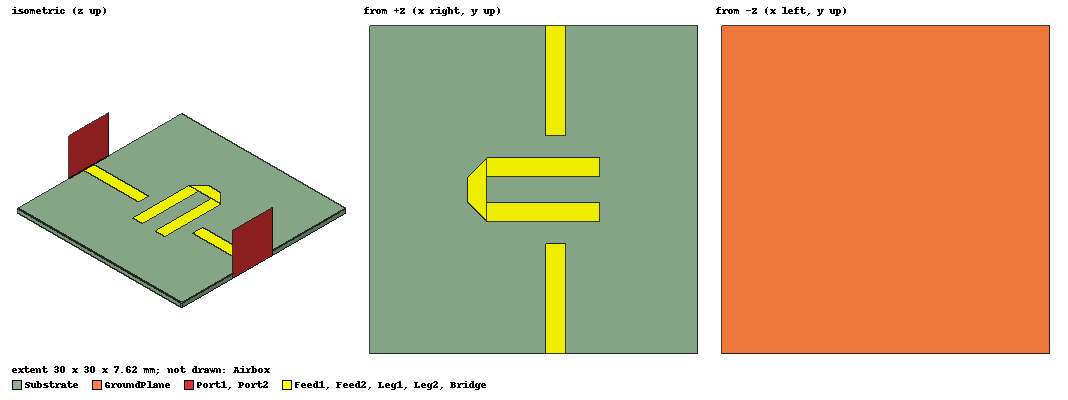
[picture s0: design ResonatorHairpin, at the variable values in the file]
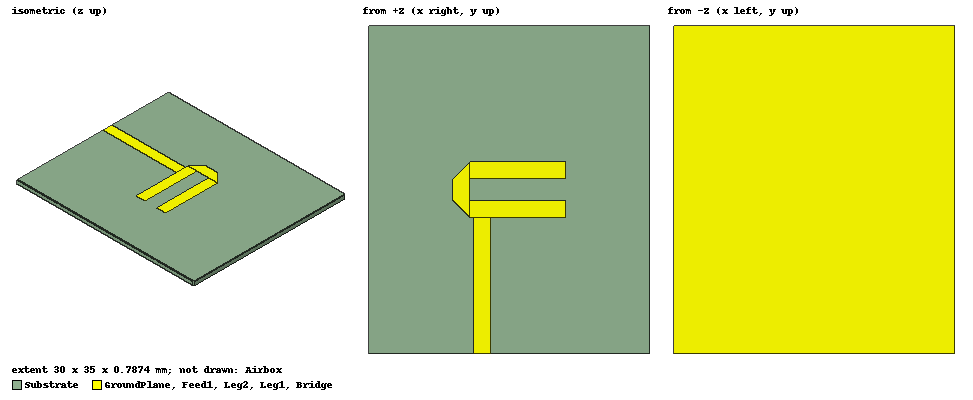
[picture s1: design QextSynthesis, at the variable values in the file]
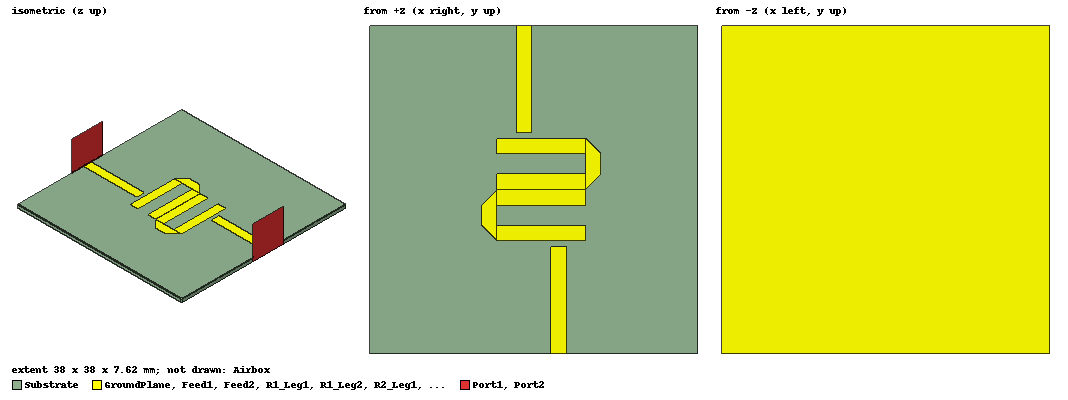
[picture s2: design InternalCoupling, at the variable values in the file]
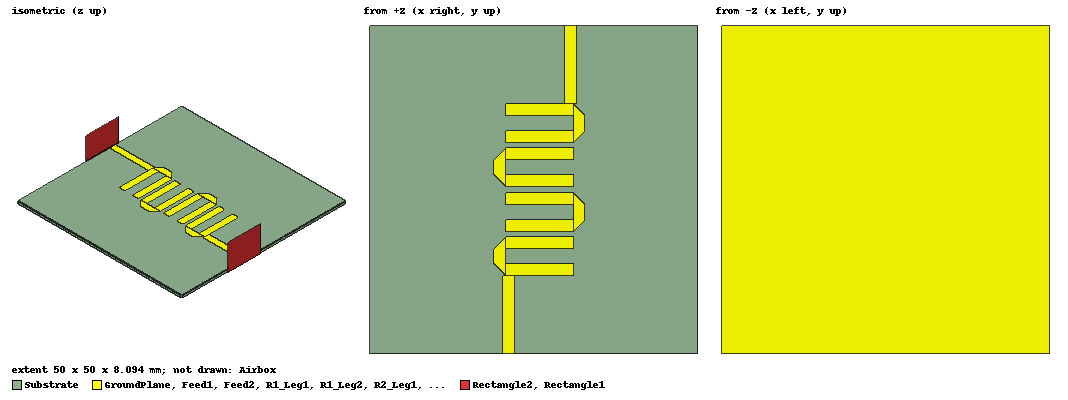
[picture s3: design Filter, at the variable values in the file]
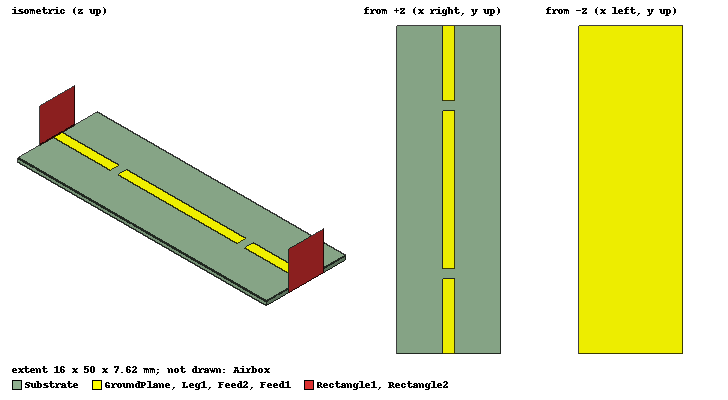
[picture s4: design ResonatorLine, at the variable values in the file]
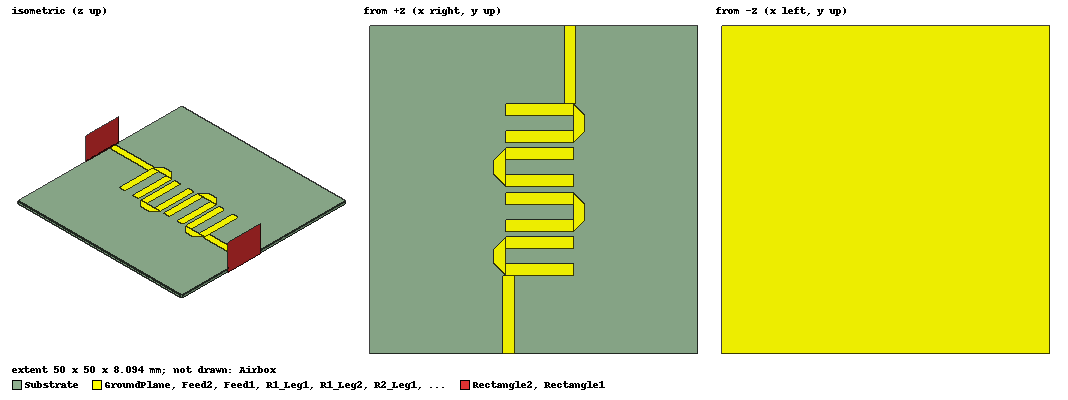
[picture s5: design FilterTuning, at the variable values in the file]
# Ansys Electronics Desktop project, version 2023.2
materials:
  vacuum: permittivity=1
  Rogers RO4003 (tm): permittivity=3.55 dielectric_loss_tangent=0.0027
  copper: permeability=0.999991 conductivity=58000000
  pec: conductivity=1e+30
  LossLess-Rogers RO4003 (tm): permittivity=3.55

design ResonatorHairpin (HFSS, HFSS Modal Network, model units mm)
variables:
  AirboxWidth = 30mm
  MicrostripWidth = 1.78mm
  Thickness = 31mil
  Len = 23.52mm
  LegR1 = 0.4378
  BridgeR2 = 0.25
  R1x = AirboxHeight/2- (MicrostripWidth + LegR1*Len)/2
  R1y = AirboxWidth/2 - BridgeR2*Len/2
  AirboxHeight = 30mm
  W50 = 1.85mm
  FX = (AirboxHeight/2 - MicrostripWidth/2) mm
  F1x = AirboxHeight/2 - MicrostripWidth/2+FOffset
  WeakGap = 2mm
  FOffset = 2mm
  LegOffset = -0.02
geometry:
  Substrate [LossLess-Rogers RO4003 (tm)] = box(corner=(0mm, 0mm, 0), size=(AirboxHeight, AirboxWidth, Thickness))
  Airbox [vacuum] = box(corner=(0mm, 0mm, 0mm), size=(AirboxHeight, AirboxWidth, 300mil))
  Leg1 = rectangle(corner=(MicrostripWidth+R1x, R1y, Thickness), x_size=Len*LegR1, y_size=MicrostripWidth)
  Leg2 = rectangle(corner=(MicrostripWidth+R1x, R1y+BridgeR2*Len-MicrostripWidth, Thickness), x_size=Len*LegR1, y_size=MicrostripWidth)
  Bridge = rectangle(corner=(R1x, R1y, Thickness), x_size=MicrostripWidth, y_size=Len*BridgeR2)
  Feed1 = rectangle(corner=(F1X, 0, Thickness), x_size=W50, y_size=R1y-WeakGap)
  Feed2 = rectangle(corner=(AirboxHeight/2 - MicrostripWidth/2 + FOffset, AirboxWidth-R1y+WeakGap, Thickness), x_size=W50, y_size=R1y-WeakGap)
  GroundPlane = rectangle(corner=(0, 0, 0), x_size=AirboxHeight, y_size=AirboxWidth)
  Polyline1 = polyline(z=Thickness, xy: (R1x, R1y) (R1x, R1y+MicrostripWidth) (R1x+MicrostripWidth, R1y) (R1x, R1y), closed, covered)
  Bridge.subtract(Polyline1)
  Polyline2 = polyline(z=Thickness, xy: (R1x, R1y + BridgeR2*Len - MicrostripWidth) (R1x, R1y + BridgeR2*Len) (R1x+MicrostripWidth, R1y+BridgeR2*Len) (R1x, R1y + BridgeR2*Len - MicrostripWidth), closed, covered)
  Bridge.subtract(Polyline2)
  Port1 = rectangle(corner=(F1x - (W50*3/2), 0mm, 0), z_size=300mil, x_size=W50*4)
  Port2 = rectangle(corner=(F1x - (W50*3/2), AirboxWidth, 0), z_size=300mil, x_size=W50*4)
  Leg3 [non-model] = rectangle(corner=(MicrostripWidth+R1x, R1y, 0), x_size=Len*LegR1, y_size=MicrostripWidth)
  Leg4 [non-model] = rectangle(corner=(MicrostripWidth+R1x, R1y+BridgeR2*Len-MicrostripWidth, 0), x_size=Len*LegR1, y_size=MicrostripWidth)
  LP1 = polyline(x=21.038528mm, yz in mm: (12.06, 0.7874) (13.84, 0.7874) (13.84, 0) (12.06, 0), closed, covered)
  LP2 = polyline(x=21.038528mm, yz in mm: (16.16, 0.7874) (17.94, 0.7874) (17.94, 0) (16.16, 0), closed, covered)
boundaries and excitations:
  Rad1: Radiation Faces=Airbox.face(+z)
  PerfE1: Perfect E Objects=[Bridge, Feed1, Feed2, GroundPlane, Leg1, Leg2]
  1: Wave Port Objects=Port1 WavePortType=Modal NumModes=1 Modes{Mode1{CharImp=Zpi}}
  2: Wave Port Objects=Port2 WavePortType=Modal NumModes=1 Modes{Mode1{CharImp=Zpi}}
  3: Lumped Port Faces=LP1.face LumpedPortType=Default Modes{Mode1{IntLine{(21.038528, 12.95, 0) -> (21.038528, 12.95, 0.7874)} CharImp=Zpi RenormImp=50ohm}} Impedance=50ohm
  4: Lumped Port Faces=LP2.face LumpedPortType=Default Modes{Mode1{IntLine{(21.038528, 17.05, 0) -> (21.038528, 17.05, 0.7874)} CharImp=Zpi RenormImp=50ohm}} Impedance=50ohm
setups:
  Setup1: HfssDriven Frequency=3.6GHz MaxDeltaS=0.005 MaximumPasses=18 MinimumPasses=15 MinimumConvergedPasses=1 PercentRefinement=30 BasisOrder=1 PortAccuracy=2 DrivenSolverType="Direct Solver"
    sweep Sweep: 1.5GHz to 5GHz, 1200 points; Type=Interpolating InterpTolerance=0.5 InterpMaxSolns=250 InterpUsePortImped=false PassivityErrorTolerance=0.0001
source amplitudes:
  1:1: 1W 0deg
  2:1, 3:1, 4:1: 0W 0deg
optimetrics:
  ParametricSetup1: Parametric Sim._Setups=[Setup1]
    sweep BridgeR2: LINC 0.21 0.26 8
    sweep LegOffset: LIN -0.08 -0.01 0.01
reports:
  S Parameter Plot 1: dB(S(2,1)) vs Freq on Setup1 : Sweep [BridgeR2=all LegOffset=all]; markers m1 at 3.5929942GHz

design QextSynthesis (HFSS, HFSS Modal Network, model units mm)
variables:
  AirboxWidth = 35mm
  MicrostripWidth = 1.78mm
  Thickness = 31mil
  Len = 23.52mm
  LegR1 = 0.4378
  BridgeR2 = 0.25
  R1x = AirboxHeight/2- (MicrostripWidth + LegR1*Len)/2
  R1y = AirboxWidth/2 - BridgeR2*Len/2
  AirboxHeight = 30mm
  FeedPos = R1x+MicrostripWidth+QextOffset
  QextOffset = 0.5mm
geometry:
  Substrate [LossLess-Rogers RO4003 (tm)] = box(corner=(0mm, 0mm, 0), size=(AirboxHeight, AirboxWidth, Thickness))
  Airbox [vacuum] = box(corner=(0mm, 0mm, -10mil), size=(AirboxHeight, AirboxWidth, 310mil))
  Leg1 = rectangle(corner=(MicrostripWidth+R1x, R1y, Thickness), x_size=Len*LegR1, y_size=MicrostripWidth)
  Leg2 = rectangle(corner=(MicrostripWidth+R1x, R1y+BridgeR2*Len-MicrostripWidth, Thickness), x_size=Len*LegR1, y_size=MicrostripWidth)
  Bridge = rectangle(corner=(R1x, R1y, Thickness), x_size=MicrostripWidth, y_size=Len*BridgeR2)
  Feed1 = rectangle(corner=(FeedPos, 0, Thickness), x_size=MicrostripWidth, y_size=R1y)
  GroundPlane = rectangle(corner=(0, 0, 0), x_size=AirboxHeight, y_size=AirboxWidth)
  Polyline1 = polyline(z=Thickness, xy: (R1x, R1y) (R1x, R1y+MicrostripWidth) (R1x+MicrostripWidth, R1y) (R1x, R1y), closed, covered)
  Polyline2 = polyline(z=Thickness, xy: (R1x, R1y + BridgeR2*Len - MicrostripWidth) (R1x, R1y + BridgeR2*Len) (R1x+MicrostripWidth, R1y+BridgeR2*Len) (R1x, R1y + BridgeR2*Len - MicrostripWidth), closed, covered)
  Bridge.subtract(Polyline1, Polyline2)
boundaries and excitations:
  PerfE1: Perfect E Objects=[Bridge, Feed1, GroundPlane, Leg1, Leg2]
  Rad1: Radiation Faces=Airbox.face(+z)
  1: Wave Port Faces=Airbox.face(-y) WavePortType=Modal NumModes=1 Modes{Mode1{CharImp=Zpi}}
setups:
  Setup1: HfssDriven Frequency=3.6GHz MaxDeltaS=0.005 MaximumPasses=18 MinimumPasses=12 MinimumConvergedPasses=1 PercentRefinement=30 BasisOrder=1 PortAccuracy=2 DrivenSolverType="Direct Solver"
    sweep Sweep: 3GHz to 8GHz, 8000 points; Type=Interpolating SaveFields InterpTolerance=0.5 InterpMaxSolns=250 InterpUsePortImped=false PassivityErrorTolerance=0.0001
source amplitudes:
  1:1: 1W 0deg
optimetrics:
  ParametricSetup1: Parametric Sim._Setups=[Setup1]
    sweep QextOffset: LIN -0.8mm 0mm 0.2mm
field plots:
  ComplexMag_E1: E Field in Airbox on Setup1 : LastAdaptive at Freq=3.6GHz Phase=0deg
  Mag_E1: E Field in Airbox on Setup1 : Sweep at Freq=3.3GHz Phase=0deg
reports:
  S Parameter Plot 1: dB(S(1,1)), ang_deg(S(1,1)) vs Freq on Setup1 : Sweep; markers MX1 at x=6.8991826e+09, MY1 at y=0.133343, MY3 at y=-3.00825

design InternalCoupling (HFSS, HFSS Modal Network, model units mm)
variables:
  a = 0.25
  Beta1 = 0.4378
  Beta2 = Beta1
  W = 1.78mm
  Len = 23.52mm
  Resonator1W = a*Len
  Resonator1H = W + max(Beta1*Len,Beta2*Len)
  Spacing1 = 0.1mm
  ResonatorsW = 2*Resonator1W + Spacing1
  F1Y = 0mm
  WeakGap = 0.68mm
  AirboxWidth = 38mm
  AirboxHeight = 38mm
  Thickness = 31mil
  Resonator1X = (AirboxHeight/2) - (Resonator1H/2)
  Resonator1Y = AirboxWidth/2 - (Resonator1W*2/2) - (Spacing1/2)
  Resonator2X = Resonator1X+W
  Resonator2Y = Resonator1Y + (a*Len) + Spacing1
  F1X = Resonator1X+(Beta1*Len+W)/2 + FeedOffset
  F2X = Resonator2X+(Beta2*Len-W)/2 - FeedOffset
  F2Y = FeedLen + ResonatorsW + 2*WeakGap
  FeedLen = Resonator1Y-WeakGap
  FeedOffset = 2mm
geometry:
  Substrate [Rogers RO4003 (tm)] = box(corner=(0mm, 0mm, 0), size=(AirboxHeight, AirboxWidth, Thickness))
  Airbox [vacuum] = box(corner=(0mm, 0mm, 0), size=(AirboxHeight, AirboxWidth, 300mil))
  GroundPlane = rectangle(corner=(0, 0, 0), x_size=AirboxHeight, y_size=AirboxWidth)
  R1_Bridge = rectangle(corner=(Resonator1X, Resonator1Y, Thickness), x_size=W, y_size=a*Len)
  R1_Leg1 = rectangle(corner=(Resonator1X+W, Resonator1Y, Thickness), x_size=Beta1*Len, y_size=W)
  R1_Leg2 = rectangle(corner=(Resonator1X+W, Resonator1Y+(a*Len)-W, Thickness), x_size=Beta2*Len, y_size=W)
  R2_Bridge1 = rectangle(corner=(Resonator2X+max(Beta1,Beta2)*Len, Resonator2Y, Thickness), x_size=W, y_size=a*Len)
  R2_Leg1 = rectangle(corner=(Resonator2X, Resonator2Y, Thickness), x_size=Beta1*Len, y_size=W)
  R2_Leg2 = rectangle(corner=(Resonator2X, Resonator2Y+(a*Len)-W, Thickness), x_size=Beta2*Len, y_size=W)
  Feed1 = rectangle(corner=(F1X, F1Y, Thickness), x_size=W, y_size=FeedLen)
  Feed2 = rectangle(corner=(F2X, F2Y, Thickness), x_size=W, y_size=FeedLen)
  Polyline1 = polyline(z=Thickness, xy: (Resonator1X, Resonator1Y) (Resonator1X, Resonator1Y+W) (Resonator1X+W, Resonator1Y) (Resonator1X, Resonator1Y), closed, covered)
  R1_Bridge.subtract(Polyline1)
  Polyline2 = polyline(z=Thickness, xy: (Resonator1X, Resonator1Y + a*Len - W) (Resonator1X, Resonator1Y+ a*Len) (Resonator1X+W, Resonator1Y + a*Len) (Resonator1X, Resonator1Y + a*Len - W), closed, covered)
  R1_Bridge.subtract(Polyline2)
  Polyline3 = polyline(z=Thickness, xy: (Resonator2X+Beta1*Len, Resonator2Y) (Resonator2X+Beta1*Len+W, Resonator2Y) (Resonator2X+Beta1*Len+W, Resonator2Y+W) (Resonator2X+Beta1*Len, Resonator2Y), closed, covered)
  Polyline4 = polyline(z=Thickness, xy: (Resonator2X+Beta2*Len, Resonator2Y+a*Len) (Resonator2X+Beta2*Len+W, Resonator2Y+a*Len) (Resonator2X+Beta2*Len+W, Resonator2Y+a*Len-W) (Resonator2X+Beta2*Len, Resonator2Y+a*Len), closed, covered)
  R2_Bridge1.subtract(Polyline3, Polyline4)
  Port1 = rectangle(corner=(F1X - (W*3/2), 0mm, 0mm), z_size=300mil, x_size=W*4)
  Port2 = rectangle(corner=(F2X - (W*3/2), AirboxWidth, 0mm), z_size=300mil, x_size=W*4)
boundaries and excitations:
  Rad1: Radiation Faces=Airbox.face(+z)
  PerfE1: Perfect E Objects=[Feed1, Feed2, GroundPlane, R1_Bridge, R1_Leg1, R1_Leg2, R2_Bridge1, R2_Leg2, R2_Leg1]
  1: Wave Port Objects=Port1 WavePortType=Modal NumModes=1 Modes{Mode1{CharImp=Zpi}}
  2: Wave Port Objects=Port2 WavePortType=Modal NumModes=1 Modes{Mode1{CharImp=Zpi}}
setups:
  Setup1: HfssDriven Frequency=3.6GHz MaxDeltaS=0.004 MaximumPasses=18 MinimumPasses=13 MinimumConvergedPasses=1 PercentRefinement=30 BasisOrder=1 PortAccuracy=2 DrivenSolverType="Direct Solver"
    sweep Sweep: 1.8GHz to 5.4GHz, 2500 points; Type=Interpolating InterpTolerance=0.5 InterpMaxSolns=250 InterpUsePortImped=false PassivityErrorTolerance=0.0001
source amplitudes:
  1:1: 1W 0deg
  2:1: 0W 0deg
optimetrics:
  ParametricSetup1: Parametric Sim._Setups=[Setup1]
    sweep Spacing1: LINC 0.4mm 1.25mm 12
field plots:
  ComplexMag_E1: E Field in Airbox on Setup1 : LastAdaptive at Freq=3.6GHz Phase=0deg
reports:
  S Parameter Plot 1: dB(S(2,1)) vs Freq on Setup1 : Sweep; markers m1 at 3.4595438GHz, m2 at 3.737575GHz, m3 at 3.472509GHz, m4 at 3.7260504GHz, m5 at 3.4869148GHz, m6 at 3.7130852GHz, m7 at 3.5027611GHz, m8 at 3.7058824GHz, m9 at 3.520048GHz, m10 at 3.70012GHz, m11 at 3.5344538GHz, m12 at 3.6957983GHz, m13 at 3.5430972GHz, m14 at 3.6885954GHz, m15 at 3.5603842GHz, m16 at 3.679952GHz

design Filter (HFSS, HFSS Modal Network, model units mm)
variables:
  a = 0.25
  Beta1 = 0.4378
  Beta2 = Beta1
  W = 1.78mm
  Len = 23.52mm
  Resonator1W = a*Len
  R1Beta1 = 0.4378
  Resonator1H = W + max(Beta1,Beta2)*Len
  W50 = 1.78mm
  Spacing1 = 0.79453mm
  ResonatorsW = Resonator1W + Resonator2W + Resonator3W + Resonator4W + Spacing1 + Spacing2 + Spacing3
  FeedOffset = -0.45mm
  Resonator2W = a*Len
  Resonator3W = a*Len
  Resonator4W = a*Len
  F1Y = 0mm
  Spacing2 = 0.97525mm
  Spacing3 = Spacing1
  WeakGap = 0mm
  AirboxWidth = 50mm
  AirboxHeight = 50mm
  Thickness = 31mil
  Resonator1X = (AirboxHeight/2) - (Resonator1H/2)
  Resonator1Y = AirboxWidth/2 - ResonatorsW/2
  Resonator2X = Resonator1X+W
  Resonator2Y = Resonator1Y + Resonator1W + Spacing1
  F1X = Resonator1X+W+FeedOffset
  F2X = Resonator2X-W+max(Beta1,Beta2)*Len - FeedOffset
  F2Y = FeedLen + ResonatorsW + 2*WeakGap
  FeedLen = Resonator1Y-WeakGap
  Resonator3X = Resonator1X
  Resonator4X = Resonator1X+W
  Resonator3Y = Resonator2Y + Resonator2W + Spacing2
  Resonator4Y = Resonator3Y + Resonator3W + Spacing3
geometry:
  Substrate [LossLess-Rogers RO4003 (tm)] = box(corner=(0mm, 0mm, 0), size=(AirboxHeight, AirboxWidth, Thickness))
  Airbox [vacuum] = box(corner=(0mm, 0mm, 0), size=(AirboxHeight, AirboxWidth, 300mil))
  GroundPlane = rectangle(corner=(0, 0, 0), x_size=AirboxHeight, y_size=AirboxWidth)
  R1_Bridge = rectangle(corner=(Resonator1X, Resonator1Y, Thickness), x_size=W, y_size=a*Len)
  R1_Leg1 = rectangle(corner=(Resonator1X+W, Resonator1Y, Thickness), x_size=R1Beta1*Len, y_size=W)
  R1_Leg2 = rectangle(corner=(Resonator1X+W, Resonator1Y+(a*Len)-W, Thickness), x_size=Beta2*Len, y_size=W)
  R2_Bridge = rectangle(corner=(Resonator2X+max(Beta1,Beta2)*Len, Resonator2Y, Thickness), x_size=W, y_size=a*Len)
  R2_Leg1 = rectangle(corner=(Resonator2X, Resonator2Y, Thickness), x_size=Beta1*Len, y_size=W)
  R2_Leg2 = rectangle(corner=(Resonator2X, Resonator2Y+(a*Len)-W, Thickness), x_size=Beta2*Len, y_size=W)
  Feed1 = rectangle(corner=(F1X, F1Y, Thickness), x_size=W50, y_size=FeedLen)
  Feed2 = rectangle(corner=(F2X, F2Y, Thickness), x_size=W50, y_size=FeedLen)
  R3_Bridge = rectangle(corner=(Resonator3X, Resonator3Y, Thickness), x_size=W, y_size=a*Len)
  R3_Leg1 = rectangle(corner=(Resonator3X+W, Resonator3Y, Thickness), x_size=Beta1*Len, y_size=W)
  R3_Leg2 = rectangle(corner=(Resonator3X+W, Resonator3Y+(a*Len)-W, Thickness), x_size=Beta1*Len, y_size=W)
  R4_Bridge = rectangle(corner=(Resonator4X+max(Beta1,Beta2)*Len, Resonator4Y, Thickness), x_size=W, y_size=a*Len)
  R4_Leg1 = rectangle(corner=(Resonator4X, Resonator4Y, Thickness), x_size=Beta1*Len, y_size=W)
  R4_Leg2 = rectangle(corner=(Resonator4X-(R1Beta1-Beta1)*Len, Resonator4Y+(a*Len)-W, Thickness), x_size=R1Beta1*Len, y_size=W)
  Polyline1 = polyline(z=Thickness, xy: (Resonator1X, Resonator1Y) (Resonator1X, Resonator1Y + W) (Resonator1X+W, Resonator1Y) (Resonator1X, Resonator1Y), closed, covered)
  R1_Bridge.subtract(Polyline1)
  Polyline2 = polyline(z=Thickness, xy: (Resonator3X, Resonator3Y) (Resonator3X, Resonator3Y+W) (Resonator3X+W, Resonator3Y) (Resonator3X, Resonator3Y), closed, covered)
  R3_Bridge.subtract(Polyline2)
  Polyline3 = polyline(z=Thickness, xy: (Resonator1X, Resonator1Y + a*Len - W) (Resonator1X, Resonator1Y + a*Len) (Resonator1X+W, Resonator1Y + a*Len) (Resonator1X, Resonator1Y + a*Len - W), closed, covered)
  R1_Bridge.subtract(Polyline3)
  Polyline4 = polyline(z=Thickness, xy: (Resonator3X, Resonator3Y + a*Len - W) (Resonator3X, Resonator3Y + a*Len) (Resonator3X+W, Resonator3Y+a*Len) (Resonator3X, Resonator3Y + a*Len - W), closed, covered)
  R3_Bridge.subtract(Polyline4)
  Polyline5 = polyline(z=Thickness, xy: (Resonator2X+Beta1*Len, Resonator2Y) (Resonator2X+Beta1*Len+W, Resonator2Y) (Resonator2X+Beta1*Len+W, Resonator2Y+W) (Resonator2X+Beta1*Len, Resonator2Y), closed, covered)
  R2_Bridge.subtract(Polyline5)
  Polyline6 = polyline(z=Thickness, xy: (Resonator4X+Beta1*Len, Resonator4Y) (Resonator4X+Beta1*Len+W, Resonator4Y) (Resonator4X+Beta1*Len+W, Resonator4Y+W) (Resonator4X+Beta1*Len, Resonator4Y), closed, covered)
  R4_Bridge.subtract(Polyline6)
  Polyline7 = polyline(z=Thickness, xy: (Resonator2X+Beta2*Len, Resonator2Y+a*Len) (Resonator2X+Beta2*Len+W, Resonator2Y+a*Len) (Resonator2X+Beta2*Len+W, Resonator2Y+a*Len-W) (Resonator2X+Beta2*Len, Resonator2Y+a*Len), closed, covered)
  R2_Bridge.subtract(Polyline7)
  Polyline8 = polyline(z=Thickness, xy: (Resonator4X+Beta2*Len, Resonator4Y+a*Len) (Resonator4X+Beta2*Len+W, Resonator4Y+a*Len) (Resonator4X+Beta2*Len+W, Resonator4Y+a*Len-W) (Resonator4X+Beta2*Len, Resonator4Y+a*Len), closed, covered)
  R4_Bridge.subtract(Polyline8)
  Rectangle1 = rectangle(corner=(19.33432mm, 0mm, -0.33080207mm), z_size=7.9448824mm, x_size=9.8647114mm)
  Rectangle2 = rectangle(corner=(36mm, AirboxWidth, -0.18071828mm), z_size=7.9434507mm, x_size=-10.121375mm)
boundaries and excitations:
  FiniteCond6: Finite Conductivity Objects=GroundPlane UseMaterial Material=copper IsInternal
  FiniteCond7: Finite Conductivity Objects=[Feed1, Feed2, R1_Bridge, R1_Leg1, R1_Leg2, R2_Bridge, R2_Leg1, R2_Leg2] Conductivity=58000000 Permeability=1 IsInternal
  FiniteCond8: Finite Conductivity Objects=[R3_Bridge, R3_Leg1, R3_Leg2, R4_Bridge, R4_Leg1, R4_Leg2] Conductivity=58000000 Permeability=1 IsInternal
  Rad1: Radiation Faces=Airbox.face(+z)
  1: Wave Port Objects=Rectangle1 WavePortType=Modal NumModes=1 Modes{Mode1{CharImp=Zpi}}
  2: Wave Port Objects=Rectangle2 WavePortType=Modal NumModes=1 Modes{Mode1{CharImp=Zpi}}
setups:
  Setup1: HfssDriven Frequency=3.6GHz MaxDeltaS=0.005 MaximumPasses=15 MinimumPasses=1 MinimumConvergedPasses=1 PercentRefinement=30 BasisOrder=1 PortAccuracy=2 DrivenSolverType="Direct Solver"
    sweep Sweep: 1.8GHz to 5.8GHz, 4000 points; Type=Interpolating InterpTolerance=0.5 InterpMaxSolns=250 InterpUsePortImped=false PassivityErrorTolerance=0.0001
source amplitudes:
  1:1: 1W 0deg
  2:1: 0W 0deg
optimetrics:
  ParametricSetup1: Parametric Sim._Setups=[Setup1]
    sweep R1Beta1: LINC 0.2189 0.6567 20
    sweep Spacing1: LIN 0.73mm 0.82mm 3mm
    sweep Spacing2: LIN 0.8mm 1.1mm 5mm
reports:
  S Parameter Plot 1: dB(S(1,1)) vs Freq on Setup1 : Sweep [R1Beta1=all Spacing1=all Spacing2=all]
  S Parameter Plot 2: dB(S(2,1)) vs Freq on Setup1 : Sweep [R1Beta1=all Spacing1=all Spacing2=all]

design ResonatorLine (HFSS, HFSS Modal Network, model units mm)
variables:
  AirboxWidth = 50mm
  MicrostripWidth = 1.78mm
  Thickness = 31mil
  Len = 24mm
  LegR1 = 0.43533
  BridgeR2 = 23.52
  R1x = AirboxHeight/2 - MicrostripWidth/2
  R1y = AirboxWidth/2 - Len/2
  AirboxHeight = 16mm
  W50 = 1.78mm
  FX = (AirboxHeight/2 - MicrostripWidth/2) mm
  F1x = AirboxHeight/2 - MicrostripWidth/2+FOffset
  WeakGap = 1.5mm
  FOffset = 0mm
  LegOffset = -0.02
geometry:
  Substrate [LossLess-Rogers RO4003 (tm)] = box(corner=(0mm, 0mm, 0), size=(AirboxHeight, AirboxWidth, Thickness))
  Airbox [vacuum] = box(corner=(0mm, 0mm, 0mm), size=(AirboxHeight, AirboxWidth, 300mil))
  Leg1 = rectangle(corner=(R1x, R1y, Thickness), x_size=MicrostripWidth, y_size=Len)
  Feed1 = rectangle(corner=(F1X, 0, Thickness), x_size=W50, y_size=R1y-WeakGap)
  Feed2 = rectangle(corner=(AirboxHeight/2 - MicrostripWidth/2 + FOffset, AirboxWidth-R1y+WeakGap, Thickness), x_size=W50, y_size=R1y-WeakGap)
  GroundPlane = rectangle(corner=(0, 0, 0), x_size=AirboxHeight, y_size=AirboxWidth)
  Rectangle1 = rectangle(corner=(F1x - (W50*3/2), 0mm, 0), z_size=300mil, x_size=W50*4)
  Rectangle2 = rectangle(corner=(F1x - (W50*3/2), AirboxWidth, 0), z_size=300mil, x_size=W50*4)
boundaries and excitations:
  Rad1: Radiation Faces=Airbox.face(+z)
  PerfE1: Perfect E Objects=[Feed1, Feed2, GroundPlane, Leg1]
  1: Wave Port Objects=Rectangle1 WavePortType=Modal NumModes=1 Modes{Mode1{CharImp=Zpi}}
  2: Wave Port Objects=Rectangle2 WavePortType=Modal NumModes=1 Modes{Mode1{CharImp=Zpi}}
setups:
  Setup1: HfssDriven Frequency=3.6GHz MaxDeltaS=0.005 MaximumPasses=18 MinimumPasses=15 MinimumConvergedPasses=1 PercentRefinement=30 BasisOrder=1 PortAccuracy=2 DrivenSolverType="Direct Solver"
    sweep Sweep: 1.5GHz to 5GHz, 1200 points; Type=Interpolating InterpTolerance=0.5 InterpMaxSolns=250 InterpUsePortImped=false PassivityErrorTolerance=0.0001
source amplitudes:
  1:1: 1W 0deg
  2:1: 0W 0deg
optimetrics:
  ParametricSetup1: Parametric Sim._Setups=[Setup1]
    sweep BridgeR2: LINC 0.21 0.26 8
    sweep LegOffset: LIN -0.08 -0.01 0.01
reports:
  S Parameter Plot 1: dB(S(1,1)) vs Freq on Setup1 : Sweep
  S Parameter Plot 2: dB(S(2,1)) vs Freq on Setup1 : Sweep; markers m1 at 3.6105088GHz

design FilterTuning (HFSS, HFSS Modal Network, model units mm)
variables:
  a = 0.25
  Beta1 = 0.4378
  Beta2 = Beta1
  W = 1.78mm
  Len = 23.52mm
  Resonator1W = a*Len
  Resonator1H = W + max(Beta1,Beta2)*Len
  W50 = 1.78mm
  Spacing1 = 0.79453mm
  ResonatorsW = Resonator1W + Resonator2W + Resonator3W + Resonator4W + Spacing1 + Spacing2 + Spacing3
  FeedOffset = -0.4mm
  Resonator2W = a*Len
  Resonator3W = a*Len
  Resonator4W = a*Len
  F1Y = 0mm
  Spacing2 = 0.97525mm
  Spacing3 = Spacing1
  WeakGap = 0mm
  AirboxWidth = 50mm
  AirboxHeight = 50mm
  Thickness = 31mil
  Resonator1X = (AirboxHeight/2) - (Resonator1H/2)
  Resonator1Y = AirboxWidth/2 - ResonatorsW/2
  Resonator2X = Resonator1X+W
  Resonator2Y = Resonator1Y + Resonator1W + Spacing1
  F1X = Resonator1X+W+FeedOffset
  F2X = Resonator2X-W+max(Beta1,Beta2)*Len - FeedOffset
  F2Y = FeedLen + ResonatorsW + 2*WeakGap
  FeedLen = Resonator1Y-WeakGap
  Resonator3X = Resonator1X
  Resonator4X = Resonator1X+W
  Resonator3Y = Resonator2Y + Resonator2W + Spacing2
  Resonator4Y = Resonator3Y + Resonator3W + Spacing3
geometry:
  Substrate [LossLess-Rogers RO4003 (tm)] = box(corner=(0mm, 0mm, 0), size=(AirboxHeight, AirboxWidth, Thickness))
  Airbox [vacuum] = box(corner=(0mm, 0mm, 0), size=(AirboxHeight, AirboxWidth, 300mil))
  GroundPlane = rectangle(corner=(0, 0, 0), x_size=AirboxHeight, y_size=AirboxWidth)
  R1_Bridge = rectangle(corner=(Resonator1X, Resonator1Y, Thickness), x_size=W, y_size=a*Len)
  R1_Leg1 = rectangle(corner=(Resonator1X+W, Resonator1Y, Thickness), x_size=Beta1*Len, y_size=W)
  R1_Leg2 = rectangle(corner=(Resonator1X+W, Resonator1Y+(a*Len)-W, Thickness), x_size=Beta2*Len, y_size=W)
  R2_Bridge = rectangle(corner=(Resonator2X+max(Beta1,Beta2)*Len, Resonator2Y, Thickness), x_size=W, y_size=a*Len)
  R2_Leg1 = rectangle(corner=(Resonator2X, Resonator2Y, Thickness), x_size=Beta1*Len, y_size=W)
  R2_Leg2 = rectangle(corner=(Resonator2X, Resonator2Y+(a*Len)-W, Thickness), x_size=Beta2*Len, y_size=W)
  Feed1 = rectangle(corner=(F1X, F1Y, Thickness), x_size=W50, y_size=FeedLen)
  Feed2 = rectangle(corner=(F2X, F2Y, Thickness), x_size=W50, y_size=FeedLen)
  R3_Bridge = rectangle(corner=(Resonator3X, Resonator3Y, Thickness), x_size=W, y_size=a*Len)
  R3_Leg1 = rectangle(corner=(Resonator3X+W, Resonator3Y, Thickness), x_size=Beta1*Len, y_size=W)
  R3_Leg2 = rectangle(corner=(Resonator3X+W, Resonator3Y+(a*Len)-W, Thickness), x_size=Beta1*Len, y_size=W)
  R4_Bridge = rectangle(corner=(Resonator4X+max(Beta1,Beta2)*Len, Resonator4Y, Thickness), x_size=W, y_size=a*Len)
  R4_Leg1 = rectangle(corner=(Resonator4X, Resonator4Y, Thickness), x_size=Beta1*Len, y_size=W)
  R4_Leg2 = rectangle(corner=(Resonator4X, Resonator4Y+(a*Len)-W, Thickness), x_size=Beta1*Len, y_size=W)
  Polyline1 = polyline(z=Thickness, xy: (Resonator1X, Resonator1Y) (Resonator1X, Resonator1Y + W) (Resonator1X+W, Resonator1Y) (Resonator1X, Resonator1Y), closed, covered)
  R1_Bridge.subtract(Polyline1)
  Polyline2 = polyline(z=Thickness, xy: (Resonator3X, Resonator3Y) (Resonator3X, Resonator3Y+W) (Resonator3X+W, Resonator3Y) (Resonator3X, Resonator3Y), closed, covered)
  R3_Bridge.subtract(Polyline2)
  Polyline3 = polyline(z=Thickness, xy: (Resonator1X, Resonator1Y + a*Len - W) (Resonator1X, Resonator1Y + a*Len) (Resonator1X+W, Resonator1Y + a*Len) (Resonator1X, Resonator1Y + a*Len - W), closed, covered)
  R1_Bridge.subtract(Polyline3)
  Polyline4 = polyline(z=Thickness, xy: (Resonator3X, Resonator3Y + a*Len - W) (Resonator3X, Resonator3Y + a*Len) (Resonator3X+W, Resonator3Y+a*Len) (Resonator3X, Resonator3Y + a*Len - W), closed, covered)
  R3_Bridge.subtract(Polyline4)
  Polyline5 = polyline(z=Thickness, xy: (Resonator2X+Beta1*Len, Resonator2Y) (Resonator2X+Beta1*Len+W, Resonator2Y) (Resonator2X+Beta1*Len+W, Resonator2Y+W) (Resonator2X+Beta1*Len, Resonator2Y), closed, covered)
  R2_Bridge.subtract(Polyline5)
  Polyline6 = polyline(z=Thickness, xy: (Resonator4X+Beta1*Len, Resonator4Y) (Resonator4X+Beta1*Len+W, Resonator4Y) (Resonator4X+Beta1*Len+W, Resonator4Y+W) (Resonator4X+Beta1*Len, Resonator4Y), closed, covered)
  R4_Bridge.subtract(Polyline6)
  Polyline7 = polyline(z=Thickness, xy: (Resonator2X+Beta2*Len, Resonator2Y+a*Len) (Resonator2X+Beta2*Len+W, Resonator2Y+a*Len) (Resonator2X+Beta2*Len+W, Resonator2Y+a*Len-W) (Resonator2X+Beta2*Len, Resonator2Y+a*Len), closed, covered)
  R2_Bridge.subtract(Polyline7)
  Polyline8 = polyline(z=Thickness, xy: (Resonator4X+Beta2*Len, Resonator4Y+a*Len) (Resonator4X+Beta2*Len+W, Resonator4Y+a*Len) (Resonator4X+Beta2*Len+W, Resonator4Y+a*Len-W) (Resonator4X+Beta2*Len, Resonator4Y+a*Len), closed, covered)
  R4_Bridge.subtract(Polyline8)
  Rectangle1 = rectangle(corner=(19.33432mm, 0mm, -0.33080207mm), z_size=7.9448824mm, x_size=9.8647114mm)
  Rectangle2 = rectangle(corner=(36mm, AirboxWidth, -0.18071828mm), z_size=7.9434507mm, x_size=-10.121375mm)
  R1_Leg1_Tune [non-model] = rectangle(corner=(Resonator1X+W, Resonator1Y, 0), x_size=Beta1*Len, y_size=W)
  R4_Leg2_Tune [non-model] = rectangle(corner=(Resonator4X, Resonator4Y+(a*Len)-W, 0), x_size=Beta1*Len, y_size=W)
  LP1 = polyline(x=31.038528mm, yz in mm: (11.957845, 0.7874) (13.737845, 0.7874) (13.737845, 0) (11.957845, 0), closed, covered)
  LP2 = polyline(x=20.741472mm, yz in mm: (38.042155, 0.7874) (36.262155, 0.7874) (36.262155, 0) (38.042155, 0), closed, covered)
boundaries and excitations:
  FiniteCond6: Finite Conductivity Objects=GroundPlane UseMaterial Material=copper IsInternal
  FiniteCond7: Finite Conductivity Objects=[Feed1, Feed2, R1_Bridge, R1_Leg1, R1_Leg2, R2_Bridge, R2_Leg1, R2_Leg2] Conductivity=58000000 Permeability=1 IsInternal
  FiniteCond8: Finite Conductivity Objects=[R3_Bridge, R3_Leg1, R3_Leg2, R4_Bridge, R4_Leg1, R4_Leg2] Conductivity=58000000 Permeability=1 IsInternal
  Rad1: Radiation Faces=Airbox.face(+z)
  1: Wave Port Objects=Rectangle1 WavePortType=Modal NumModes=1 Modes{Mode1{CharImp=Zpi}}
  2: Wave Port Objects=Rectangle2 WavePortType=Modal NumModes=1 Modes{Mode1{CharImp=Zpi}}
  3: Lumped Port Faces=LP1.face LumpedPortType=Default Modes{Mode1{IntLine{(31.038528, 12.847845, 0) -> (31.038528, 12.847845, 0.7874)} CharImp=Zpi RenormImp=50ohm}} Impedance=50ohm
  4: Lumped Port Faces=LP2.face LumpedPortType=Default Modes{Mode1{IntLine{(20.741472, 37.152155, 0) -> (20.741472, 37.152155, 0.7874)} CharImp=Zpi RenormImp=50ohm}} Impedance=50ohm
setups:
  Setup1: HfssDriven Frequency=3.6GHz MaxDeltaS=0.005 MaximumPasses=15 MinimumPasses=1 MinimumConvergedPasses=1 PercentRefinement=30 BasisOrder=1 PortAccuracy=2 DrivenSolverType="Direct Solver"
    sweep Sweep: 1.8GHz to 5.8GHz, 4000 points; Type=Interpolating InterpTolerance=0.5 InterpMaxSolns=250 InterpUsePortImped=false PassivityErrorTolerance=0.0001
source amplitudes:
  1:1: 1W 0deg
  2:1, 3:1, 4:1: 0W 0deg
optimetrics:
  ParametricSetup1: Parametric Sim._Setups=[Setup1]
    sweep W: LIN 0.6mm 2mm 0.2mm
    sweep a: LIN 0.09 0.27 0.4
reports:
  S Parameter Plot 1: dB(S(1,1)) vs Freq on Setup1 : Sweep; dB(S(2,1)) vs Freq on Setup1 : Sweep [a=all W=all]; markers m1 at 3.7094774GHz, m2 at 3.6914729GHz, MY1 at y=-80
